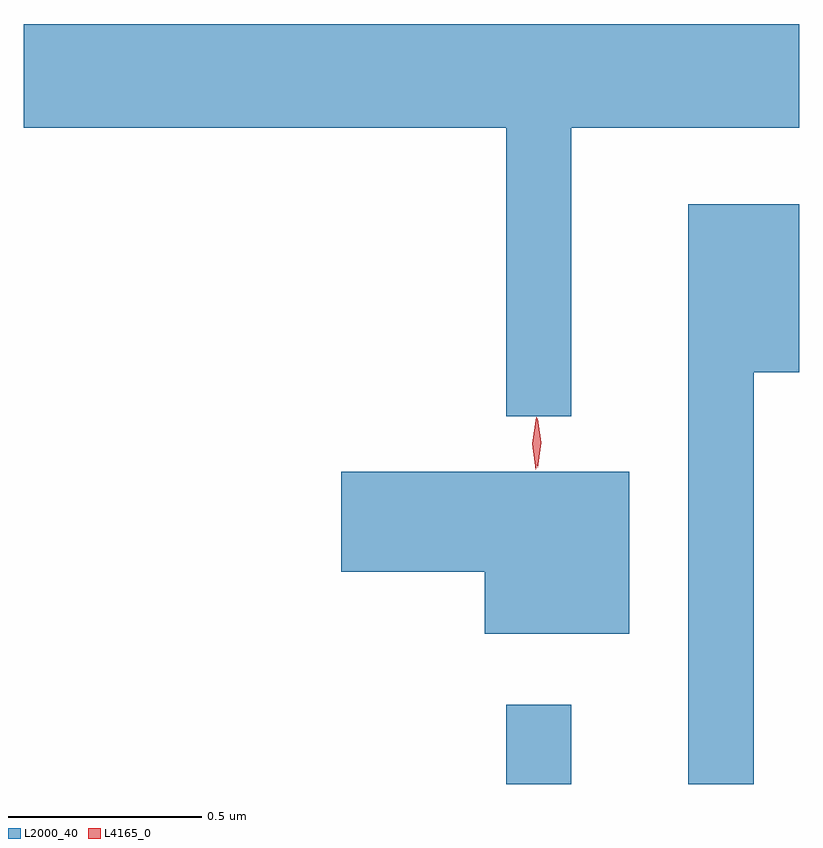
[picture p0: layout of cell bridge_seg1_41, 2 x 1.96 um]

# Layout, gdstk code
import gdstk
lib = gdstk.Library(unit=1e-6, precision=1e-09)
def R(c, l, rs):  # rectangles x0, y0, x1, y1
    for r in rs: c.add(gdstk.rectangle(r[:2], r[2:], *l))
def P(c, l, *ps):  # polygons
    for p in ps: c.add(gdstk.Polygon(p, *l))
L2000_40 = (2000, 40)
L4165_0 = (4165, 0)

bridge_seg1_41 = lib.new_cell('bridge_seg1_41')
R(bridge_seg1_41, L2000_40, [(1565.111,855.704,1565.279,855.908)])
P(bridge_seg1_41, L2000_40, [(1565.279,857.396),(1565.867,857.396),(1565.867,857.664),(1563.867,857.664),(1563.867,857.396),(1565.111,857.396),(1565.111,856.653),(1565.279,856.653)],
  [(1565.749,856.766),(1565.867,856.766),(1565.867,857.199),(1565.581,857.199),(1565.581,855.704),(1565.749,855.704)],
  [(1565.429,856.509),(1564.686,856.509),(1564.686,856.251),(1565.056,856.251),(1565.056,856.091),(1565.429,856.091)])
P(bridge_seg1_41, L4165_0, [(1565.192,856.52),(1565.192,856.52),(1565.182,856.584),(1565.192,856.646),(1565.192,856.647),(1565.193,856.646),(1565.202,856.584),(1565.193,856.52)],
  [(1565.187,856.514),(1565.179,856.582),(1565.189,856.65),(1565.19,856.65),(1565.19,856.65),(1565.199,856.582),(1565.188,856.514),(1565.188,856.514)])

lib.write_gds('bridge_seg1_41.gds')
